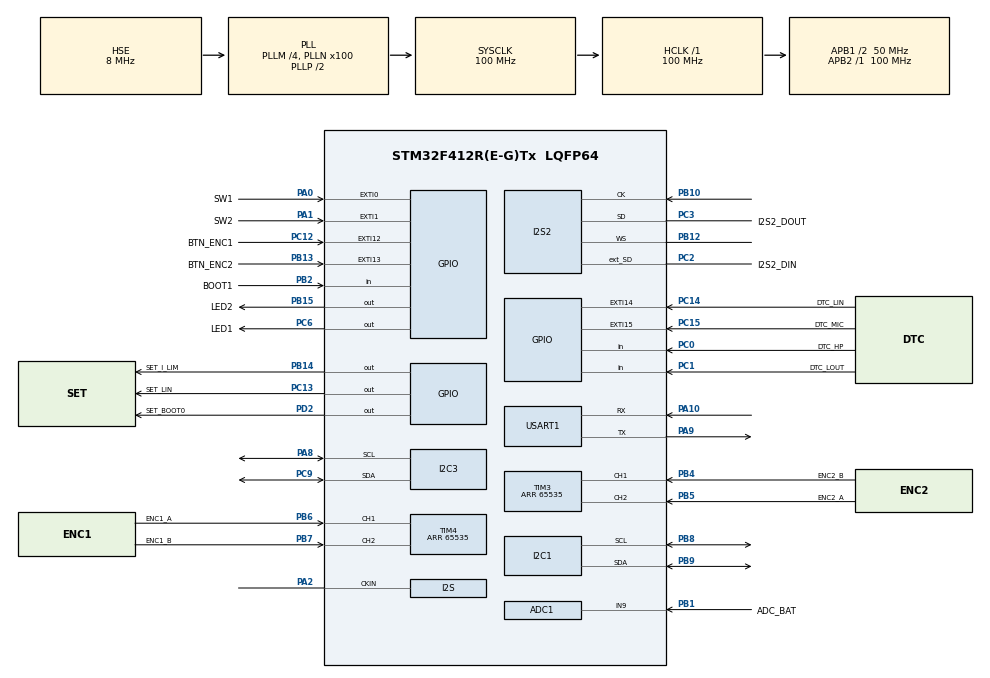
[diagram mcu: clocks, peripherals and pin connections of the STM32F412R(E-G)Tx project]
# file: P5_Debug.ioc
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ADC1.Channel-1\#ChannelRegularConversion=ADC_CHANNEL_9
ADC1.NbrOfConversionFlag=1
ADC1.Rank-1\#ChannelRegularConversion=1
ADC1.SamplingTime-1\#ChannelRegularConversion=ADC_SAMPLETIME_3CYCLES
ADC1.master=1
Dma.I2S2_EXT_RX.0.Direction=DMA_PERIPH_TO_MEMORY
Dma.I2S2_EXT_RX.0.FIFOMode=DMA_FIFOMODE_ENABLE
Dma.I2S2_EXT_RX.0.FIFOThreshold=DMA_FIFO_THRESHOLD_HALFFULL
Dma.I2S2_EXT_RX.0.Instance=DMA1_Stream3
Dma.I2S2_EXT_RX.0.MemBurst=DMA_MBURST_SINGLE
Dma.I2S2_EXT_RX.0.MemDataAlignment=DMA_MDATAALIGN_HALFWORD
Dma.I2S2_EXT_RX.0.MemInc=DMA_MINC_ENABLE
Dma.I2S2_EXT_RX.0.Mode=DMA_CIRCULAR
Dma.I2S2_EXT_RX.0.PeriphBurst=DMA_PBURST_SINGLE
Dma.I2S2_EXT_RX.0.PeriphDataAlignment=DMA_PDATAALIGN_HALFWORD
Dma.I2S2_EXT_RX.0.PeriphInc=DMA_PINC_DISABLE
Dma.I2S2_EXT_RX.0.Priority=DMA_PRIORITY_HIGH
Dma.Request0=I2S2_EXT_RX
Dma.Request1=SPI2_TX
Dma.SPI2_TX.1.Direction=DMA_MEMORY_TO_PERIPH
Dma.SPI2_TX.1.FIFOMode=DMA_FIFOMODE_ENABLE
Dma.SPI2_TX.1.FIFOThreshold=DMA_FIFO_THRESHOLD_HALFFULL
Dma.SPI2_TX.1.Instance=DMA1_Stream4
Dma.SPI2_TX.1.MemBurst=DMA_MBURST_SINGLE
Dma.SPI2_TX.1.MemDataAlignment=DMA_MDATAALIGN_HALFWORD
Dma.SPI2_TX.1.MemInc=DMA_MINC_ENABLE
Dma.SPI2_TX.1.Mode=DMA_CIRCULAR
Dma.SPI2_TX.1.PeriphBurst=DMA_PBURST_SINGLE
Dma.SPI2_TX.1.PeriphDataAlignment=DMA_PDATAALIGN_HALFWORD
Dma.SPI2_TX.1.PeriphInc=DMA_PINC_DISABLE
Dma.SPI2_TX.1.Priority=DMA_PRIORITY_HIGH
I2S2.AudioFreq=I2S_AUDIOFREQ_48K
I2S2.DataFormat=I2S_DATAFORMAT_16B_EXTENDED
I2S2.ErrorAudioFreq=0.0 %
I2S2.FullDuplexMode=I2S_FULLDUPLEXMODE_ENABLE
I2S2.Instance=SPI$Index
I2S2.RealAudioFreq=48.0 KHz
I2S2.Standard=I2S_STANDARD_MSB
I2S2.VirtualMode=I2S_MODE_SLAVE
Mcu.Family=STM32F4
Mcu.Name=STM32F412R(E-G)Tx
Mcu.Package=LQFP64
NVIC.DMA1_Stream3_IRQn=true\:0\:0\:false\:false\:true\:false\:true
NVIC.DMA1_Stream4_IRQn=true\:0\:0\:false\:false\:true\:false\:true
NVIC.EXTI0_IRQn=true\:0\:0\:false\:false\:true\:true\:true
NVIC.EXTI15_10_IRQn=true\:0\:0\:false\:false\:true\:true\:true
NVIC.EXTI1_IRQn=true\:0\:0\:false\:false\:true\:true\:true
NVIC.PriorityGroup=NVIC_PRIORITYGROUP_4
NVIC.RNG_IRQn=true\:0\:0\:false\:false\:true\:true\:true
PA0.GPIO_Label=SW1
PA0.Signal=GPXTI0
PA1.GPIO_Label=SW2
PA1.Signal=GPXTI1
PA10.Mode=Asynchronous
PA10.Signal=USART1_RX
PA11.GPIO_Label=USB_DM
PA11.Signal=USB_OTG_FS_DM
PA12.GPIO_Label=USB_DP
PA12.Signal=USB_OTG_FS_DP
PA13.Mode=JTAG_4_pins
PA13.Signal=SYS_JTMS-SWDIO
PA14.Mode=JTAG_4_pins
PA14.Signal=SYS_JTCK-SWCLK
PA15.Mode=JTAG_4_pins
PA15.Signal=SYS_JTDI
PA2.Mode=Audio_ClockIn
PA2.Signal=I2S_CKIN
PA8.Mode=I2C
PA8.Signal=I2C3_SCL
PA9.Mode=Asynchronous
PA9.Signal=USART1_TX
PB1.GPIO_Label=ADC_BAT
PB1.Signal=ADCx_IN9
PB10.Mode=Full_Duplex_Slave
PB10.Signal=I2S2_CK
PB12.Mode=Full_Duplex_Slave
PB12.Signal=I2S2_WS
PB13.GPIO_Label=BTN_ENC2
PB13.Signal=GPXTI13
PB14.GPIO_Label=SET_I_LIM
PB14.Signal=GPIO_Output
PB15.GPIO_Label=LED2
PB15.Signal=GPIO_Output
PB2.GPIO_Label=BOOT1
PB2.Signal=GPIO_Input
PB3.Mode=JTAG_4_pins
PB3.Signal=SYS_JTDO-SWO
PB4.GPIO_Label=ENC2_B
PB4.Signal=S_TIM3_CH1
PB5.GPIO_Label=ENC2_A
PB5.Signal=S_TIM3_CH2
PB6.GPIO_Label=ENC1_A
PB6.Signal=S_TIM4_CH1
PB7.GPIO_Label=ENC1_B
PB7.Signal=S_TIM4_CH2
PB8.Mode=I2C
PB8.Signal=I2C1_SCL
PB9.Mode=I2C
PB9.Signal=I2C1_SDA
PC0.GPIO_Label=DTC_HP
PC0.Signal=GPIO_Input
PC1.GPIO_Label=DTC_LOUT
PC1.Signal=GPIO_Input
PC12.GPIO_Label=BTN_ENC1
PC12.Signal=GPXTI12
PC13.GPIO_Label=SET_LIN
PC13.Signal=GPIO_Output
PC14-OSC32_IN.GPIO_Label=DTC_LIN
PC14-OSC32_IN.GPIO_ModeDefaultEXTI=GPIO_MODE_IT_RISING_FALLING
PC14-OSC32_IN.Signal=GPXTI14
PC15-OSC32_OUT.GPIO_Label=DTC_MIC
PC15-OSC32_OUT.GPIO_ModeDefaultEXTI=GPIO_MODE_IT_RISING_FALLING
PC15-OSC32_OUT.Signal=GPXTI15
PC2.GPIO_Label=I2S2_DIN
PC2.Mode=Full_Duplex_Slave
PC2.Signal=I2S2_ext_SD
PC3.GPIO_Label=I2S2_DOUT
PC3.Mode=Full_Duplex_Slave
PC3.Signal=I2S2_SD
PC6.GPIO_Label=LED1
PC6.Signal=GPIO_Output
PC9.Mode=I2C
PC9.Signal=I2C3_SDA
PD2.GPIO_Label=SET_BOOT0
PD2.Signal=GPIO_Output
PH0\ -\ OSC_IN.Mode=HSE-External-Oscillator
PH0\ -\ OSC_IN.Signal=RCC_OSC_IN
PH1\ -\ OSC_OUT.Mode=HSE-External-Oscillator
PH1\ -\ OSC_OUT.Signal=RCC_OSC_OUT
ProjectManager.HeapSize=0x200
ProjectManager.StackSize=0x400
ProjectManager.TargetToolchain=MDK-ARM V5
RCC.AHBFreq_Value=100000000
RCC.APB1CLKDivider=RCC_HCLK_DIV2
RCC.APB1Freq_Value=50000000
RCC.APB1TimFreq_Value=100000000
RCC.APB2Freq_Value=100000000
RCC.APB2TimFreq_Value=100000000
RCC.CortexFreq_Value=100000000
RCC.EXTERNAL_CLOCK_VALUE=12288000
RCC.HCLKFreq_Value=100000000
RCC.HSE_VALUE=8000000
RCC.I2S1CLockSelection=RCC_I2SAPB1CLKSOURCE_EXT
RCC.PLLI2SM=6
RCC.PLLI2SN=75
RCC.PLLI2SSource=RCC_PLLI2SCLKSOURCE_EXT
RCC.PLLM=4
RCC.PLLN=100
RCC.PLLQ=8
RCC.PLLSourceVirtual=RCC_PLLSOURCE_HSE
RCC.SYSCLKFreq_VALUE=100000000
RCC.SYSCLKSource=RCC_SYSCLKSOURCE_PLLCLK
RCC.USBFreq_Value=25000000
RCC.VCOOutputFreq_Value=200000000
SH.ADCx_IN9.0=ADC1_IN9,IN9
SH.S_TIM3_CH1.0=TIM3_CH1,Encoder_Interface
SH.S_TIM3_CH2.0=TIM3_CH2,Encoder_Interface
SH.S_TIM4_CH1.0=TIM4_CH1,Encoder_Interface
SH.S_TIM4_CH2.0=TIM4_CH2,Encoder_Interface
TIM3.CounterMode=TIM_COUNTERMODE_UP
TIM3.EncoderMode=TIM_ENCODERMODE_TI1
TIM3.IC1Filter=10
TIM3.IC2Filter=10
TIM3.Period=65535
TIM4.IC1Filter=10
TIM4.IC2Filter=10
TIM4.Period=65535
USART1.VirtualMode=VM_ASYNC
VP_RNG_VS_RNG.Mode=RNG_Activate
board=custom

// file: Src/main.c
/* USER CODE BEGIN Header */
/**
  ******************************************************************************
  * @file           : main.c
  * @brief          : Main program body
  ******************************************************************************
  * @attention
  *
  * <h2><center>&copy; Copyright (c) 2019 STMicroelectronics.
  * All rights reserved.</center></h2>
  *
  * This software component is licensed by ST under BSD 3-Clause license,
  * the "License"; You may not use this file except in compliance with the
  * License. You may obtain a copy of the License at:
  *                        opensource.org/licenses/BSD-3-Clause
  *
  ******************************************************************************
  */
/* USER CODE END Header */

#include "main.h"

/* USER CODE BEGIN Includes */
#include <stdio.h>
#include <stdlib.h>
#include <math.h>
#include "ssd1306.h"
#include "tlv320aic.h"
#include "dsp_board_bsp.h"
#include "dsp_processing.h"
#include "fir.h"
/* USER CODE END Includes */

/* USER CODE BEGIN PD */
// #define ENABLE_PRINTF

/* USER CODE END PD */

ADC_HandleTypeDef hadc1;

I2C_HandleTypeDef hi2c1;
I2C_HandleTypeDef hi2c3;

I2S_HandleTypeDef hi2s2;
DMA_HandleTypeDef hdma_i2s2_ext_rx;
DMA_HandleTypeDef hdma_spi2_tx;

RNG_HandleTypeDef hrng;

TIM_HandleTypeDef htim3;
TIM_HandleTypeDef htim4;

UART_HandleTypeDef huart1;

/* USER CODE BEGIN PV */
SSD1306_t holedR;
SSD1306_t holedL;

uint16_t pTxData[DSP_BUFFERSIZE_DOUBLE];
uint16_t pRxData[DSP_BUFFERSIZE_DOUBLE];
uint16_t sinWave[256];

volatile uint8_t btnLeftPressed = 0;
volatile uint8_t btnRightPressed = 0;
volatile uint8_t encLeftPressed = 0;
volatile uint8_t encRightPressed = 0;
volatile uint8_t dmaTransferComplete = 0;

extern volatile uint16_t dsp_mode;
extern volatile uint32_t buffer_offset;
/* USER CODE END PV */

void SystemClock_Config(void);
static void MX_GPIO_Init(void);
static void MX_DMA_Init(void);
static void MX_I2C1_Init(void);
static void MX_I2C3_Init(void);
static void MX_USART1_UART_Init(void);
static void MX_I2S2_Init(void);
static void MX_TIM3_Init(void);
static void MX_TIM4_Init(void);
static void MX_RNG_Init(void);
static void MX_ADC1_Init(void);

/* USER CODE BEGIN 0 */
/* PRINTF REDIRECT to UART BEGIN */
/** @see    http://www.keil.com/forum/60531/ */
/** @see    https://stackoverflow.com/questions/45535126/stm32-printf-redirect */

struct __FILE{
  int handle;
  /* Whatever you require here. If the only file you are using is */
  /* standard output using printf() for debugging, no file handling */
  /* is required. */
};

FILE __stdout;

int fputc(int ch, FILE *f){
	HAL_UART_Transmit(&huart1, (uint8_t *)&ch, 1, 0xFFFF);
  return ch;
}

int ferror(FILE *f){
  /* Your implementation of ferror(). */
  return 0;
}
/* PRINTF REDIRECT to UART END */

/* USER CODE END 0 */

int main(void)
{

  /* MCU Configuration--------------------------------------------------------*/

  /* Reset of all peripherals, Initializes the Flash interface and the Systick. */
  HAL_Init();

  /* Configure the system clock */
  SystemClock_Config();

  /* Initialize all configured peripherals */
  MX_GPIO_Init();
  MX_DMA_Init();
  MX_I2C1_Init();
  MX_I2C3_Init();
  MX_USART1_UART_Init();
  MX_I2S2_Init();
  MX_TIM3_Init();
  MX_TIM4_Init();
  MX_RNG_Init();
  MX_ADC1_Init();
  /* USER CODE BEGIN 2 */

	/* If User Button is pressed on Startup, enter DFU Firmware Upgrade Mode */
	if(HAL_GPIO_ReadPin(SW2_GPIO_Port, SW2_Pin) == GPIO_PIN_SET){
		HAL_GPIO_WritePin(SET_BOOT0_GPIO_Port, SET_BOOT0_Pin, GPIO_PIN_SET);  // pull BOOT0 = 1
		HAL_Delay(500);      // wait for Capacitor to charge to ~3.3V
		NVIC_SystemReset();  // Reset the MCU
	}

	printf("DSP Board!\n");

	/* Start ADC for Battery Voltage */
	HAL_ADC_Start(&hadc1);
	if(HAL_ADC_PollForConversion(&hadc1, 5) == HAL_OK){
		HAL_ADC_GetValue(&hadc1);
	}

	/* Set up SSD1306 OLED Displays on both I2C Busses */
	holedR.hi2cx = &hi2c3;
	holedL.hi2cx = &hi2c1;
	ssd1306_Init(&holedL);
	ssd1306_Fill(&holedL, Black);
	ssd1306_SetCursor(&holedL, 2, 20);
	ssd1306_WriteString(&holedL, "Line Vol", Font_11x18, White);
	ssd1306_UpdateScreen(&holedL);
	ssd1306_Init(&holedR);
	ssd1306_Fill(&holedR, Black);
	ssd1306_SetCursor(&holedR, 2, 20);
	// ssd1306_WriteString(&holedR, "Input", Font_11x18, White);
	ssd1306_UpdateScreen(&holedR);

	/* Start both Timers in Encoder Mode for Rotary Encoders */
	HAL_TIM_Encoder_Start(&htim3, TIM_CHANNEL_1); // start encoder mode
	HAL_TIM_Encoder_Start(&htim4, TIM_CHANNEL_1);
	TIM3->CNT = 0; // initialize zero
	TIM4->CNT = 0;

	/* Init TLV320 Audio Codec */
	TLV320_Init(&hi2c1);
	TLV320_Mute(0);       // mute off
	TLV320_SetInput(LINE);
	TLV320_SetLineInVol(0x01F);
	TLV320_SetHeadphoneVol(0x04F);

	/* Clear Audio Rx and Tx buffer for DMA */
	for(uint16_t i=0; i<DSP_BUFFERSIZE_DOUBLE; i++){
		pRxData[i] = 0;
		pTxData[i] = 0;
	}

	/* Set the Analog Signal Switch to choose LINE IN as Input */
	BSP_SelectAudioIn(AUDIO_IN_LINE);
	ssd1306_SetCursor(&holedR, 10, 40);
	ssd1306_WriteString(&holedR, "Line IN  ", Font_11x18, White);
	ssd1306_UpdateScreen(&holedR);

	/* Generate a 1kHz Sine Wave */
	uint16_t nDataPoints = BSP_SineWave(48000.0f, 1000.0f, 1000, sinWave, sizeof(sinWave)/sizeof(uint16_t));
	// BSP_Print_to_Matlab(sinWave, nDataPoints*2);

	uint8_t input_state = 0;
	uint8_t update_counter = 0;

  float lowpass_3db_freq = 1000.0f;
	uint16_t volume_line = 0, volume_hp = 0;
	float volume_dB = -34.5f -6.0f;  // -6dB by input voltage divider
	uint8_t newvolume_line = BSP_ReadEncoder(ENCODER_LEFT) % (0x1F+1);

	char lcd_buf[18];
	sprintf(lcd_buf, "%.1f dB  ", volume_dB);
	ssd1306_SetCursor(&holedL, 10, 40);
	ssd1306_WriteString(&holedL, lcd_buf, Font_11x18, White);
	ssd1306_UpdateScreen(&holedL);

	enum { STATE_LINE, STATE_HEADPHONE, STATE_FIR_FREQ };
	uint8_t state_now = STATE_LINE;
	uint8_t state_next = STATE_LINE;

	/* Set the default mode to audio passthrough */
	dsp_mode = DSP_MODE_PASSTHROUGH;
	ssd1306_SetCursor(&holedR, 10, 0);
	ssd1306_WriteString(&holedR, "Passthru", Font_11x18, White);
	ssd1306_UpdateScreen(&holedR);

	/* Initialize FIR Filters before using them */
	FIR_Init_Mono();
	FIR_Init_Stereo();
	FIR_Init_Adaptive();

	/* Start automatic DMA Transmission (Full Duplex) */
	/* Double buffer length, Interrupt on Half-Full */
	HAL_I2SEx_TransmitReceive_DMA(&hi2s2, pTxData, pRxData, DSP_BUFFERSIZE_DOUBLE);
  /* USER CODE END 2 */

  /* Infinite loop */
  while (1)
  {

    /* USER CODE BEGIN 3 */
		HAL_Delay(10);
		state_now = state_next;
		update_counter ++;

		/* STATE MACHINE */
		int16_t encoder_change = BSP_ReadEncoder_Difference(ENCODER_LEFT);
		if(encoder_change){    // only execute when something changed
			switch(state_now){
				/* LINE OUT Volume */
				case STATE_LINE:
					volume_line += encoder_change;    // add the Encoder Difference to the Volume (positive or negative)
					if(volume_line > 0x01f)           // Boundry Check
						volume_line = 0x01f;
					TLV320_SetLineInVol(volume_line); // Set the Volume on the Codec
					// from -34.5dB to +12dB in 1.5 dB Steps  (-6.0dB from input divider)
					volume_dB = -34.5f -6.0f + (1.5f*(float)volume_line);
					sprintf(lcd_buf, "%.1f dB  ", volume_dB);
					break;
				/* HEADPHONE Volume */
				case STATE_HEADPHONE:
					volume_hp += encoder_change;
					if(volume_hp > 79)
						volume_hp = 79;
					TLV320_SetHeadphoneVol(volume_hp);
					// from -73dB to +6dB in 1dB Steps
					volume_dB = -73.0 -6.0f + (1.0f*(float)volume_hp);
					sprintf(lcd_buf, "%.1f dB  ", volume_dB);
					break;
				/*
				case STATE_FIR_FREQ:
					lowpass_3db_freq += ((float)encoder_change * 100.0f);  // frequency resolution = 100Hz
					if(lowpass_3db_freq > 18000.0f)
						lowpass_3db_freq = 18000.0f;  // fmax = 18'000 Hz
					if(lowpass_3db_freq < 100.0f  )
						lowpass_3db_freq = 100.0f;    // fmin =    100 Hz
					DSP_Update_Adaptive_FIR(lowpass_3db_freq);
					sprintf(lcd_buf, "%.1f kHz  ", lowpass_3db_freq/1000);
					break;
				*/
				default:
					state_next = STATE_LINE;
			}
			// Display new Value on 2nd line on OLED
			ssd1306_SetCursor(&holedL, 10, 40);
			ssd1306_WriteString(&holedL, lcd_buf, Font_11x18, White);
			ssd1306_UpdateScreen(&holedL);
		}

		encoder_change = BSP_ReadEncoder_Difference(ENCODER_RIGHT);
		if(encoder_change){    // only execute when something changed
			if(dsp_mode == DSP_MODE_FIR_ADAPTIVE){
				lowpass_3db_freq += ((float)encoder_change * 100.0f);  // frequency resolution = 100Hz
				if(lowpass_3db_freq > 18000.0f)
					lowpass_3db_freq = 18000.0f;  // fmax = 18'000 Hz
				if(lowpass_3db_freq < 100.0f  )
					lowpass_3db_freq = 100.0f;    // fmin =    100 Hz
				DSP_Update_Adaptive_FIR(lowpass_3db_freq);
				sprintf(lcd_buf, "%.1f kHz  ", lowpass_3db_freq/1000);
				ssd1306_SetCursor(&holedR, 10, 20);
				ssd1306_WriteString(&holedR, lcd_buf, Font_11x18, White);
				ssd1306_UpdateScreen(&holedR);
			}
		}

		/* LEFT USER BUTTON */
		if(btnLeftPressed){
			btnLeftPressed= 0;
		}

		/* RIGHT USER BUTTON */
		if(btnRightPressed){
			btnRightPressed= 0;
			input_state = (input_state +1)%3;

			/* Switch Line Input between external Board and 3.5mm Jack */
			if(input_state == 0){
				BSP_SelectAudioIn(AUDIO_IN_EXT);  // select external Source
				HAL_GPIO_WritePin(LED1_GPIO_Port, LED1_Pin, GPIO_PIN_SET);
				sprintf(lcd_buf, "EXT Line ");
				TLV320_SetInput(LINE);

			} else if (input_state == 1) {
				BSP_SelectAudioIn(AUDIO_IN_LINE); // select Jack Source
				HAL_GPIO_WritePin(LED1_GPIO_Port, LED1_Pin, GPIO_PIN_RESET);
				sprintf(lcd_buf, "Line IN  ");
				TLV320_SetInput(LINE);
			} else {
				BSP_SelectAudioIn(AUDIO_IN_LINE); // select Jack Source
				HAL_GPIO_WritePin(LED1_GPIO_Port, LED1_Pin, GPIO_PIN_RESET);
				sprintf(lcd_buf, "MIC      ");
				TLV320_SetInput(MIC);
			}
			ssd1306_SetCursor(&holedR, 10, 40);
			ssd1306_WriteString(&holedR, lcd_buf, Font_11x18, White);
			ssd1306_UpdateScreen(&holedR);
		}

		/* LEFT ENCODER BUTTON */
		if(encLeftPressed){
			encLeftPressed = 0;

			/* Switch Volume Control State */
			ssd1306_SetCursor(&holedL, 2, 20);
			if(state_now == STATE_LINE){
				state_next = STATE_HEADPHONE;
				ssd1306_WriteString(&holedL, "HP   Vol", Font_11x18, White);
				volume_dB = -73.0 -6.0f + (1.0f*(float)volume_hp);
			} else {
				state_next = STATE_LINE;
				ssd1306_WriteString(&holedL, "LINE Vol", Font_11x18, White);
				volume_dB = -34.5f -6.0f + (1.5f*(float)volume_line);
			}
			sprintf(lcd_buf, "%.1f dB  ", volume_dB);

			ssd1306_SetCursor(&holedL, 10, 40);
			ssd1306_WriteString(&holedL, lcd_buf, Font_11x18, White);
			ssd1306_UpdateScreen(&holedL);
		}

		/* RIGHT ENCODER BUTTON */
		if(encRightPressed){
			encRightPressed = 0;
			if(dsp_mode == DSP_MODE_FIR){
				dsp_mode = DSP_MODE_FIR_ADAPTIVE;
				sprintf(lcd_buf, "FIR adapt");
			} else if(dsp_mode == DSP_MODE_FIR_ADAPTIVE) {
				dsp_mode = DSP_MODE_PASSTHROUGH;
				sprintf(lcd_buf, "Passthru ");
			} else {
				dsp_mode = DSP_MODE_FIR;
				sprintf(lcd_buf, "FIR      ");
			}
			ssd1306_SetCursor(&holedR, 10, 0);
			ssd1306_WriteString(&holedR, lcd_buf, Font_11x18, White);
			ssd1306_UpdateScreen(&holedR);

			if(dsp_mode == DSP_MODE_FIR_ADAPTIVE){
				sprintf(lcd_buf, "%.1f kHz  ", lowpass_3db_freq/1000);
			} else {
				sprintf(lcd_buf, "           ");
			}
			ssd1306_SetCursor(&holedR, 10, 20);
			ssd1306_WriteString(&holedR, lcd_buf, Font_11x18, White);
			ssd1306_UpdateScreen(&holedR);
		}

		/* do something every 1s without user interaction */
		if(update_counter > 0xfe){
			update_counter = 0;

			float volt = BSP_ReadBatteryVoltage(10);
			sprintf(lcd_buf, "%.2f V  ", volt);
			ssd1306_SetCursor(&holedL, 50, 0);
			ssd1306_WriteString(&holedL, lcd_buf, Font_7x10, White);
			ssd1306_UpdateScreen(&holedL);
		}

  }
  /* USER CODE END 3 */
}

void SystemClock_Config(void)
{
  RCC_OscInitTypeDef RCC_OscInitStruct = {0};
  RCC_ClkInitTypeDef RCC_ClkInitStruct = {0};
  RCC_PeriphCLKInitTypeDef PeriphClkInitStruct = {0};

  /** Configure the main internal regulator output voltage
  */
  __HAL_RCC_PWR_CLK_ENABLE();
  __HAL_PWR_VOLTAGESCALING_CONFIG(PWR_REGULATOR_VOLTAGE_SCALE1);
  /** Initializes the CPU, AHB and APB busses clocks
  */
  RCC_OscInitStruct.OscillatorType = RCC_OSCILLATORTYPE_HSE;
  RCC_OscInitStruct.HSEState = RCC_HSE_ON;
  RCC_OscInitStruct.PLL.PLLState = RCC_PLL_ON;
  RCC_OscInitStruct.PLL.PLLSource = RCC_PLLSOURCE_HSE;
  RCC_OscInitStruct.PLL.PLLM = 4;
  RCC_OscInitStruct.PLL.PLLN = 100;
  RCC_OscInitStruct.PLL.PLLP = RCC_PLLP_DIV2;
  RCC_OscInitStruct.PLL.PLLQ = 8;
  RCC_OscInitStruct.PLL.PLLR = 2;
  if (HAL_RCC_OscConfig(&RCC_OscInitStruct) != HAL_OK)
  {
    Error_Handler();
  }
  /** Initializes the CPU, AHB and APB busses clocks
  */
  RCC_ClkInitStruct.ClockType = RCC_CLOCKTYPE_HCLK|RCC_CLOCKTYPE_SYSCLK
                              |RCC_CLOCKTYPE_PCLK1|RCC_CLOCKTYPE_PCLK2;
  RCC_ClkInitStruct.SYSCLKSource = RCC_SYSCLKSOURCE_PLLCLK;
  RCC_ClkInitStruct.AHBCLKDivider = RCC_SYSCLK_DIV1;
  RCC_ClkInitStruct.APB1CLKDivider = RCC_HCLK_DIV2;
  RCC_ClkInitStruct.APB2CLKDivider = RCC_HCLK_DIV1;

  if (HAL_RCC_ClockConfig(&RCC_ClkInitStruct, FLASH_LATENCY_3) != HAL_OK)
  {
    Error_Handler();
  }
  PeriphClkInitStruct.PeriphClockSelection = RCC_PERIPHCLK_I2S_APB1|RCC_PERIPHCLK_CLK48;
  PeriphClkInitStruct.Clk48ClockSelection = RCC_CLK48CLKSOURCE_PLLQ;
  PeriphClkInitStruct.I2sApb1ClockSelection = RCC_I2SAPB1CLKSOURCE_EXT;
  if (HAL_RCCEx_PeriphCLKConfig(&PeriphClkInitStruct) != HAL_OK)
  {
    Error_Handler();
  }
}

static void MX_ADC1_Init(void)
{

  ADC_ChannelConfTypeDef sConfig = {0};

  /** Configure the global features of the ADC (Clock, Resolution, Data Alignment and number of conversion)
  */
  hadc1.Instance = ADC1;
  hadc1.Init.ClockPrescaler = ADC_CLOCK_SYNC_PCLK_DIV4;
  hadc1.Init.Resolution = ADC_RESOLUTION_12B;
  hadc1.Init.ScanConvMode = DISABLE;
  hadc1.Init.ContinuousConvMode = DISABLE;
  hadc1.Init.DiscontinuousConvMode = DISABLE;
  hadc1.Init.ExternalTrigConvEdge = ADC_EXTERNALTRIGCONVEDGE_NONE;
  hadc1.Init.ExternalTrigConv = ADC_SOFTWARE_START;
  hadc1.Init.DataAlign = ADC_DATAALIGN_RIGHT;
  hadc1.Init.NbrOfConversion = 1;
  hadc1.Init.DMAContinuousRequests = DISABLE;
  hadc1.Init.EOCSelection = ADC_EOC_SINGLE_CONV;
  if (HAL_ADC_Init(&hadc1) != HAL_OK)
  {
    Error_Handler();
  }
  /** Configure for the selected ADC regular channel its corresponding rank in the sequencer and its sample time.
  */
  sConfig.Channel = ADC_CHANNEL_9;
  sConfig.Rank = 1;
  sConfig.SamplingTime = ADC_SAMPLETIME_3CYCLES;
  if (HAL_ADC_ConfigChannel(&hadc1, &sConfig) != HAL_OK)
  {
    Error_Handler();
  }

}

static void MX_I2C1_Init(void)
{

  hi2c1.Instance = I2C1;
  hi2c1.Init.ClockSpeed = 100000;
  hi2c1.Init.DutyCycle = I2C_DUTYCYCLE_2;
  hi2c1.Init.OwnAddress1 = 0;
  hi2c1.Init.AddressingMode = I2C_ADDRESSINGMODE_7BIT;
  hi2c1.Init.DualAddressMode = I2C_DUALADDRESS_DISABLE;
  hi2c1.Init.OwnAddress2 = 0;
  hi2c1.Init.GeneralCallMode = I2C_GENERALCALL_DISABLE;
  hi2c1.Init.NoStretchMode = I2C_NOSTRETCH_DISABLE;
  if (HAL_I2C_Init(&hi2c1) != HAL_OK)
  {
    Error_Handler();
  }

}

static void MX_I2C3_Init(void)
{

  hi2c3.Instance = I2C3;
  hi2c3.Init.ClockSpeed = 100000;
  hi2c3.Init.DutyCycle = I2C_DUTYCYCLE_2;
  hi2c3.Init.OwnAddress1 = 0;
  hi2c3.Init.AddressingMode = I2C_ADDRESSINGMODE_7BIT;
  hi2c3.Init.DualAddressMode = I2C_DUALADDRESS_DISABLE;
  hi2c3.Init.OwnAddress2 = 0;
  hi2c3.Init.GeneralCallMode = I2C_GENERALCALL_DISABLE;
  hi2c3.Init.NoStretchMode = I2C_NOSTRETCH_DISABLE;
  if (HAL_I2C_Init(&hi2c3) != HAL_OK)
  {
    Error_Handler();
  }

}

static void MX_I2S2_Init(void)
{

  /* USER CODE BEGIN I2S2_Init 1 */
	// @TODO change 16BIT extended
  /* USER CODE END I2S2_Init 1 */
  hi2s2.Instance = SPI2;
  hi2s2.Init.Mode = I2S_MODE_SLAVE_TX;
  hi2s2.Init.Standard = I2S_STANDARD_MSB;
  hi2s2.Init.DataFormat = I2S_DATAFORMAT_16B_EXTENDED;
  hi2s2.Init.MCLKOutput = I2S_MCLKOUTPUT_DISABLE;
  hi2s2.Init.AudioFreq = I2S_AUDIOFREQ_48K;
  hi2s2.Init.CPOL = I2S_CPOL_LOW;
  hi2s2.Init.ClockSource = I2S_CLOCK_EXTERNAL;
  hi2s2.Init.FullDuplexMode = I2S_FULLDUPLEXMODE_ENABLE;
  if (HAL_I2S_Init(&hi2s2) != HAL_OK)
  {
    Error_Handler();
  }

}

static void MX_RNG_Init(void)
{

  hrng.Instance = RNG;
  if (HAL_RNG_Init(&hrng) != HAL_OK)
  {
    Error_Handler();
  }

}

static void MX_TIM3_Init(void)
{

  TIM_Encoder_InitTypeDef sConfig = {0};
  TIM_MasterConfigTypeDef sMasterConfig = {0};

  htim3.Instance = TIM3;
  htim3.Init.Prescaler = 0;
  htim3.Init.CounterMode = TIM_COUNTERMODE_UP;
  htim3.Init.Period = 65535;
  htim3.Init.ClockDivision = TIM_CLOCKDIVISION_DIV1;
  htim3.Init.AutoReloadPreload = TIM_AUTORELOAD_PRELOAD_DISABLE;
  sConfig.EncoderMode = TIM_ENCODERMODE_TI1;
  sConfig.IC1Polarity = TIM_ICPOLARITY_RISING;
  sConfig.IC1Selection = TIM_ICSELECTION_DIRECTTI;
  sConfig.IC1Prescaler = TIM_ICPSC_DIV1;
  sConfig.IC1Filter = 10;
  sConfig.IC2Polarity = TIM_ICPOLARITY_RISING;
  sConfig.IC2Selection = TIM_ICSELECTION_DIRECTTI;
  sConfig.IC2Prescaler = TIM_ICPSC_DIV1;
  sConfig.IC2Filter = 10;
  if (HAL_TIM_Encoder_Init(&htim3, &sConfig) != HAL_OK)
  {
    Error_Handler();
  }
  sMasterConfig.MasterOutputTrigger = TIM_TRGO_RESET;
  sMasterConfig.MasterSlaveMode = TIM_MASTERSLAVEMODE_DISABLE;
  if (HAL_TIMEx_MasterConfigSynchronization(&htim3, &sMasterConfig) != HAL_OK)
  {
    Error_Handler();
  }

}

static void MX_TIM4_Init(void)
{

  TIM_Encoder_InitTypeDef sConfig = {0};
  TIM_MasterConfigTypeDef sMasterConfig = {0};

  htim4.Instance = TIM4;
  htim4.Init.Prescaler = 0;
  htim4.Init.CounterMode = TIM_COUNTERMODE_UP;
  htim4.Init.Period = 65535;
  htim4.Init.ClockDivision = TIM_CLOCKDIVISION_DIV1;
  htim4.Init.AutoReloadPreload = TIM_AUTORELOAD_PRELOAD_DISABLE;
  sConfig.EncoderMode = TIM_ENCODERMODE_TI1;
  sConfig.IC1Polarity = TIM_ICPOLARITY_RISING;
  sConfig.IC1Selection = TIM_ICSELECTION_DIRECTTI;
  sConfig.IC1Prescaler = TIM_ICPSC_DIV1;
  sConfig.IC1Filter = 10;
  sConfig.IC2Polarity = TIM_ICPOLARITY_RISING;
  sConfig.IC2Selection = TIM_ICSELECTION_DIRECTTI;
  sConfig.IC2Prescaler = TIM_ICPSC_DIV1;
  sConfig.IC2Filter = 10;
  if (HAL_TIM_Encoder_Init(&htim4, &sConfig) != HAL_OK)
  {
    Error_Handler();
  }
  sMasterConfig.MasterOutputTrigger = TIM_TRGO_RESET;
  sMasterConfig.MasterSlaveMode = TIM_MASTERSLAVEMODE_DISABLE;
  if (HAL_TIMEx_MasterConfigSynchronization(&htim4, &sMasterConfig) != HAL_OK)
  {
    Error_Handler();
  }

}

static void MX_USART1_UART_Init(void)
{

  huart1.Instance = USART1;
  huart1.Init.BaudRate = 115200;
  huart1.Init.WordLength = UART_WORDLENGTH_8B;
  huart1.Init.StopBits = UART_STOPBITS_1;
  huart1.Init.Parity = UART_PARITY_NONE;
  huart1.Init.Mode = UART_MODE_TX_RX;
  huart1.Init.HwFlowCtl = UART_HWCONTROL_NONE;
  huart1.Init.OverSampling = UART_OVERSAMPLING_16;
  if (HAL_UART_Init(&huart1) != HAL_OK)
  {
    Error_Handler();
  }

}

static void MX_DMA_Init(void)
{
  /* DMA controller clock enable */
  __HAL_RCC_DMA1_CLK_ENABLE();

  /* DMA interrupt init */
  /* DMA1_Stream3_IRQn interrupt configuration */
  HAL_NVIC_SetPriority(DMA1_Stream3_IRQn, 0, 0);
  HAL_NVIC_EnableIRQ(DMA1_Stream3_IRQn);
  /* DMA1_Stream4_IRQn interrupt configuration */
  HAL_NVIC_SetPriority(DMA1_Stream4_IRQn, 0, 0);
  HAL_NVIC_EnableIRQ(DMA1_Stream4_IRQn);

}

static void MX_GPIO_Init(void)
{
  GPIO_InitTypeDef GPIO_InitStruct = {0};

  /* GPIO Ports Clock Enable */
  __HAL_RCC_GPIOC_CLK_ENABLE();
  __HAL_RCC_GPIOH_CLK_ENABLE();
  __HAL_RCC_GPIOA_CLK_ENABLE();
  __HAL_RCC_GPIOB_CLK_ENABLE();
  __HAL_RCC_GPIOD_CLK_ENABLE();

  /*Configure GPIO pin Output Level */
  HAL_GPIO_WritePin(GPIOC, SET_LIN_Pin|LED1_Pin, GPIO_PIN_RESET);

  /*Configure GPIO pin Output Level */
  HAL_GPIO_WritePin(GPIOB, SET_I_LIM_Pin|LED2_Pin, GPIO_PIN_RESET);

  /*Configure GPIO pin Output Level */
  HAL_GPIO_WritePin(SET_BOOT0_GPIO_Port, SET_BOOT0_Pin, GPIO_PIN_RESET);

  /*Configure GPIO pins : SET_LIN_Pin LED1_Pin */
  GPIO_InitStruct.Pin = SET_LIN_Pin|LED1_Pin;
  GPIO_InitStruct.Mode = GPIO_MODE_OUTPUT_PP;
  GPIO_InitStruct.Pull = GPIO_NOPULL;
  GPIO_InitStruct.Speed = GPIO_SPEED_FREQ_LOW;
  HAL_GPIO_Init(GPIOC, &GPIO_InitStruct);

  /*Configure GPIO pins : DTC_LIN_Pin DTC_MIC_Pin */
  GPIO_InitStruct.Pin = DTC_LIN_Pin|DTC_MIC_Pin;
  GPIO_InitStruct.Mode = GPIO_MODE_IT_RISING_FALLING;
  GPIO_InitStruct.Pull = GPIO_NOPULL;
  HAL_GPIO_Init(GPIOC, &GPIO_InitStruct);

  /*Configure GPIO pins : DTC_HP_Pin DTC_LOUT_Pin */
  GPIO_InitStruct.Pin = DTC_HP_Pin|DTC_LOUT_Pin;
  GPIO_InitStruct.Mode = GPIO_MODE_INPUT;
  GPIO_InitStruct.Pull = GPIO_NOPULL;
  HAL_GPIO_Init(GPIOC, &GPIO_InitStruct);

  /*Configure GPIO pins : SW1_Pin SW2_Pin */
  GPIO_InitStruct.Pin = SW1_Pin|SW2_Pin;
  GPIO_InitStruct.Mode = GPIO_MODE_IT_RISING;
  GPIO_InitStruct.Pull = GPIO_NOPULL;
  HAL_GPIO_Init(GPIOA, &GPIO_InitStruct);

  /*Configure GPIO pin : PA2 */
  GPIO_InitStruct.Pin = GPIO_PIN_2;
  GPIO_InitStruct.Mode = GPIO_MODE_AF_PP;
  GPIO_InitStruct.Pull = GPIO_NOPULL;
  GPIO_InitStruct.Speed = GPIO_SPEED_FREQ_LOW;
  GPIO_InitStruct.Alternate = GPIO_AF5_SPI1;
  HAL_GPIO_Init(GPIOA, &GPIO_InitStruct);

  /*Configure GPIO pin : BOOT1_Pin */
  GPIO_InitStruct.Pin = BOOT1_Pin;
  GPIO_InitStruct.Mode = GPIO_MODE_INPUT;
  GPIO_InitStruct.Pull = GPIO_NOPULL;
  HAL_GPIO_Init(BOOT1_GPIO_Port, &GPIO_InitStruct);

  /*Configure GPIO pin : BTN_ENC2_Pin */
  GPIO_InitStruct.Pin = BTN_ENC2_Pin;
  GPIO_InitStruct.Mode = GPIO_MODE_IT_RISING;
  GPIO_InitStruct.Pull = GPIO_NOPULL;
  HAL_GPIO_Init(BTN_ENC2_GPIO_Port, &GPIO_InitStruct);

  /*Configure GPIO pins : SET_I_LIM_Pin LED2_Pin */
  GPIO_InitStruct.Pin = SET_I_LIM_Pin|LED2_Pin;
  GPIO_InitStruct.Mode = GPIO_MODE_OUTPUT_PP;
  GPIO_InitStruct.Pull = GPIO_NOPULL;
  GPIO_InitStruct.Speed = GPIO_SPEED_FREQ_LOW;
  HAL_GPIO_Init(GPIOB, &GPIO_InitStruct);

  /*Configure GPIO pins : USB_DM_Pin USB_DP_Pin */
  GPIO_InitStruct.Pin = USB_DM_Pin|USB_DP_Pin;
  GPIO_InitStruct.Mode = GPIO_MODE_AF_PP;
  GPIO_InitStruct.Pull = GPIO_NOPULL;
  GPIO_InitStruct.Speed = GPIO_SPEED_FREQ_VERY_HIGH;
  GPIO_InitStruct.Alternate = GPIO_AF10_OTG_FS;
  HAL_GPIO_Init(GPIOA, &GPIO_InitStruct);

  /*Configure GPIO pin : BTN_ENC1_Pin */
  GPIO_InitStruct.Pin = BTN_ENC1_Pin;
  GPIO_InitStruct.Mode = GPIO_MODE_IT_RISING;
  GPIO_InitStruct.Pull = GPIO_NOPULL;
  HAL_GPIO_Init(BTN_ENC1_GPIO_Port, &GPIO_InitStruct);

  /*Configure GPIO pin : SET_BOOT0_Pin */
  GPIO_InitStruct.Pin = SET_BOOT0_Pin;
  GPIO_InitStruct.Mode = GPIO_MODE_OUTPUT_PP;
  GPIO_InitStruct.Pull = GPIO_NOPULL;
  GPIO_InitStruct.Speed = GPIO_SPEED_FREQ_LOW;
  HAL_GPIO_Init(SET_BOOT0_GPIO_Port, &GPIO_InitStruct);

  /* EXTI interrupt init*/
  HAL_NVIC_SetPriority(EXTI0_IRQn, 0, 0);
  HAL_NVIC_EnableIRQ(EXTI0_IRQn);

  HAL_NVIC_SetPriority(EXTI1_IRQn, 0, 0);
  HAL_NVIC_EnableIRQ(EXTI1_IRQn);

  HAL_NVIC_SetPriority(EXTI15_10_IRQn, 0, 0);
  HAL_NVIC_EnableIRQ(EXTI15_10_IRQn);

}

void Error_Handler(void)
{
}

/************************ (C) COPYRIGHT STMicroelectronics *****END OF FILE****/
